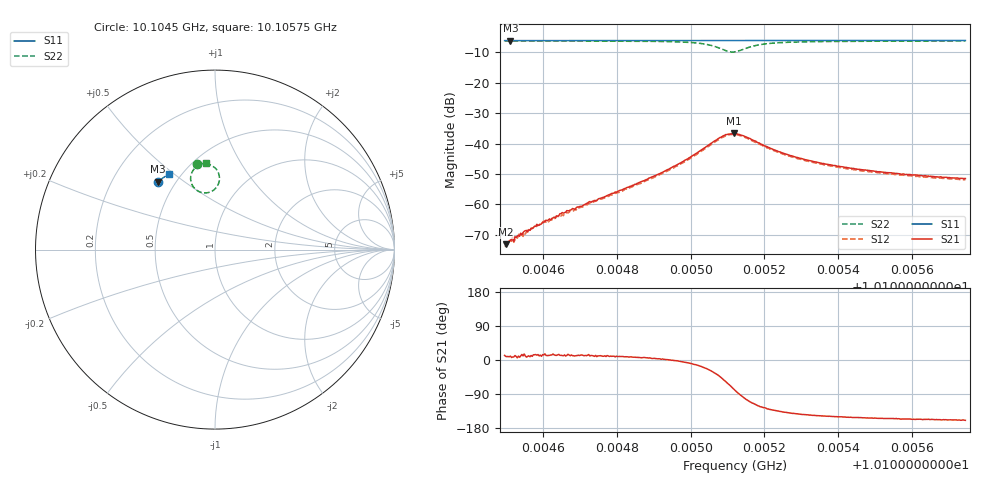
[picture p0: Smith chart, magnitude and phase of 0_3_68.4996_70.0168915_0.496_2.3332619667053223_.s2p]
#  HZ  S  RI  R  50.00
! Rohde & Schwarz Vector Network Analyzer
! Rohde-Schwarz,ZNB20-2Port,1311601062101988,3.16
! Created: UTC 3/20/2024, 4:48:35 PM
! freq[Hz]  re:S11  im:S11  re:S21  im:S21  re:S12  im:S12  re:S22  im:S22
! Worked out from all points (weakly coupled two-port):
!   401 points, 10.1045 GHz to 10.10575 GHz, reference 50 ohm
!   highest |S21| = -36.66 dB at 10.10512 GHz (marker M1); lowest = -73.1 dB at 10.1045 GHz (marker M2)
!   lowest |S11| = -6.1 dB at 10.10451 GHz (marker M3), VSWR 2.94, Z = 20.2 + j20.2 ohm
!   |S11| at or under -10 dB: nowhere
!   |S22| runs from -9.9 to -6.3 dB; largest |S21 - S12| = 0.0017
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1.0104496e10  -0.3169 0.3774  0.000225 4.87e-05  0.000202 4.98e-05  -0.0978 0.4754
1.0104499e10  -0.3167 0.3776  0.00022 3.6e-05  0.000201 4.78e-05  -0.0974 0.4754
1.0104511e10  -0.3161 0.3779  0.000251 4.55e-05  0.000251 7.12e-05  -0.0964 0.4756
1.0104527e10  -0.3153 0.3786  0.000281 4.73e-05  0.000276 6.59e-05  -0.095 0.4758
1.0104533e10  -0.3152 0.379  0.000306 5.49e-05  0.000299 9.05e-05  -0.0945 0.4759
1.0104546e10  -0.3146 0.3795  0.00034 6.51e-05  0.000288 7.92e-05  -0.0934 0.4761
1.0104599e10  -0.3121 0.3817  0.000493 0.000125  0.00048 0.000178  -0.0882 0.477
1.0104652e10  -0.3097 0.3838  0.000721 0.000151  0.000637 0.000236  -0.0827 0.478
1.0104705e10  -0.3073 0.3858  0.000911 0.000217  0.000874 0.000258  -0.0763 0.4786
1.0104914e10  -0.2973 0.3941  0.00317 0.000184  0.00301 0.000473  -0.0384 0.4764
1.0105014e10  -0.2922 0.398  0.00669 -0.00148  0.00648 -0.000812  0.00338 0.452
1.0105067e10  -0.2893 0.3995  0.00916 -0.00654  0.00938 -0.00531  0.025 0.3913
1.0105095e10  -0.2879 0.4001  0.00762 -0.0118  0.00847 -0.0104  -0.000974 0.3371
1.0105117e10  -0.2873 0.4007  0.00322 -0.0143  0.00454 -0.0135  -0.0536 0.3158
1.010512e10  -0.2872 0.4008  0.00254 -0.0143  0.00389 -0.0136  -0.0619 0.3161
1.0105155e10  -0.2862 0.4022  -0.00352 -0.012  -0.00236 -0.0119  -0.1247 0.3556
1.0105202e10  -0.2841 0.4042  -0.00539 -0.00738  -0.00462 -0.00753  -0.1341 0.4134
1.0105255e10  -0.2816 0.4064  -0.00507 -0.00457  -0.00447 -0.00484  -0.1202 0.4442
1.010533e10  -0.2778 0.4093  -0.00427 -0.00288  -0.00384 -0.0031  -0.1022 0.4623
1.0105433e10  -0.2728 0.413  -0.00345 -0.00191  -0.00318 -0.00212  -0.0848 0.4726
1.0105539e10  -0.2675 0.417  -0.00301 -0.00142  -0.00276 -0.00161  -0.0717 0.4778
1.0105745e10  -0.2571 0.4239  -0.00249 -0.000947  -0.00228 -0.00113  -0.0519 0.4831
